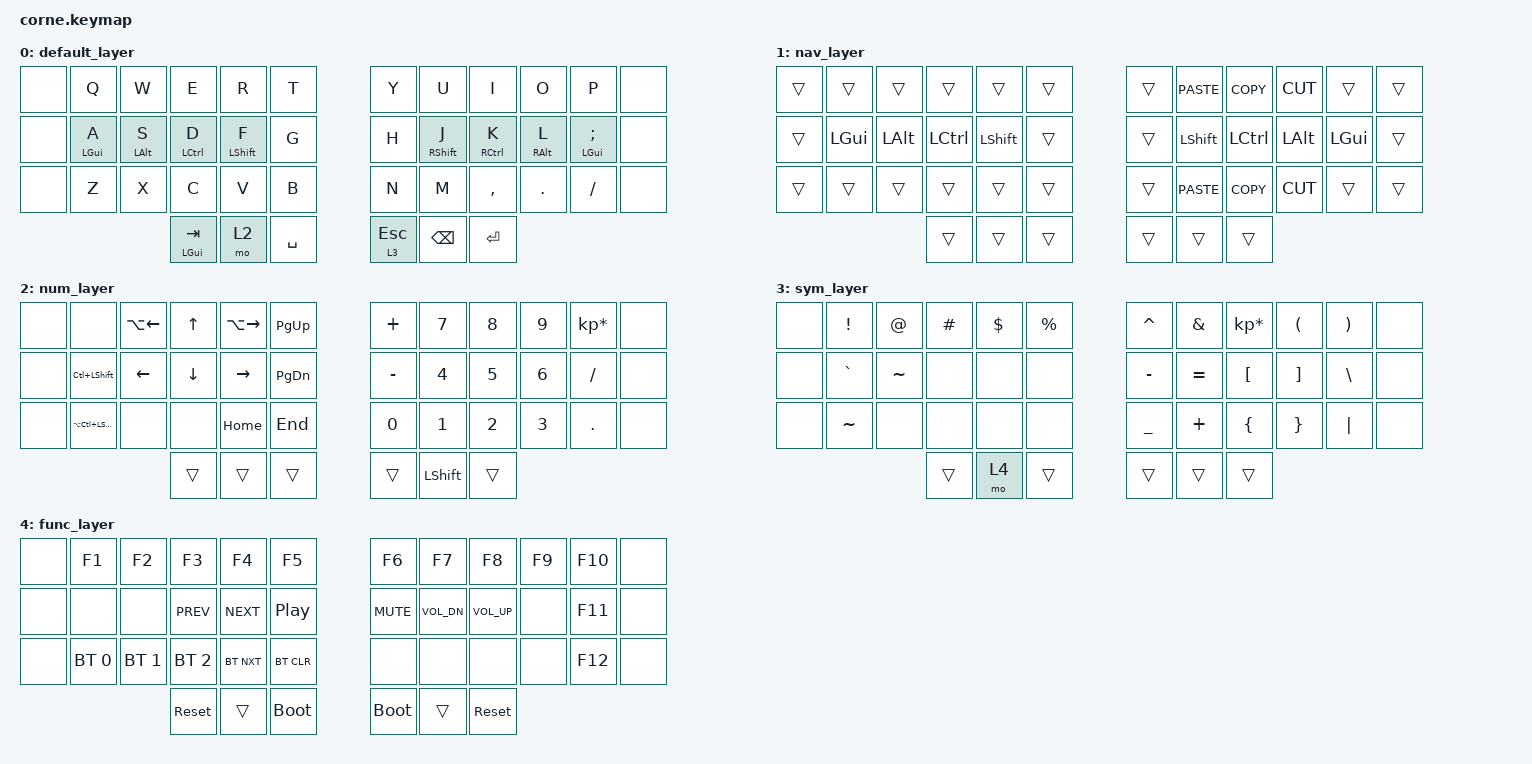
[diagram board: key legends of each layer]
/*
 * Copyright (c) 2020 The ZMK Contributors
 *
 * SPDX-License-Identifier: MIT
 */

#include <behaviors.dtsi>
#include <dt-bindings/zmk/bt.h>
#include <dt-bindings/zmk/keys.h>

// LAYERS

#define DEFAULT 0
#define NUM     1
#define SYM     2
#define FUNC    3

// MACROS

#define SUPER LC(LSHIFT)
#define SUPER2 LA(LC(LSHIFT))

&mt {
    tapping-term-ms = <200>;
    flavor = "tap-preferred";
};

/ {
    behaviors {
        hm: homerow_mods {
            compatible = "zmk,behavior-hold-tap";
            label = "HOMEROW_MODS";
            #binding-cells = <2>;
            tapping-term-ms = <200>;
            quick-tap-ms = <0>;
            flavor = "tap-preferred";
            bindings = <&kp>, <&kp>;
        };

        td0: tap_dance_0 {
            compatible = "zmk,behavior-tap-dance";
            label = "TAP_DANCE_0";
            #binding-cells = <0>;
            tapping-term-ms = <200>;
            bindings = <&kp SEMI>, <&kp SQT>;
        };
    };

    combos { compatible = "zmk,combos"; };

    keymap {
        compatible = "zmk,keymap";

        default_layer {
            bindings = <
&none  &kp Q       &kp W       &kp E             &kp R         &kp T        &kp Y         &kp U          &kp I        &kp O       &kp P          &none
&none  &hm LGUI A  &hm LALT S  &hm LCTRL D       &hm LSHIFT F  &kp G        &kp H         &hm RSHIFT J   &hm RCTRL K  &hm RALT L  &mt LGUI SEMI  &none
&none  &kp Z       &kp X       &kp C             &kp V         &kp B        &kp N         &kp M          &kp COMMA    &kp DOT     &kp FSLH       &none
                               &mt LEFT_GUI TAB  &mo 2         &kp SPACE    &lt 3 ESCAPE  &kp BACKSPACE  &kp RETURN
            >;
        };

        nav_layer {
            bindings = <
&trans  &trans    &trans    &trans     &trans     &trans    &trans  &kp K_PASTE  &kp K_COPY  &kp K_CUT  &trans    &trans
&trans  &kp LGUI  &kp LALT  &kp LCTRL  &kp LSHFT  &trans    &trans  &kp LSHFT    &kp LCTRL   &kp LALT   &kp LGUI  &trans
&trans  &trans    &trans    &trans     &trans     &trans    &trans  &kp K_PASTE  &kp K_COPY  &kp K_CUT  &trans    &trans
                            &trans     &trans     &trans    &trans  &trans       &trans
            >;
        };

        num_layer {
            bindings = <
&none  &none       &kp LA(LEFT)  &kp UP    &kp LA(RIGHT)  &kp PG_UP    &kp PLUS   &kp N7      &kp N8  &kp N9  &kp KP_MULTIPLY  &none
&none  &kp SUPER   &kp LEFT      &kp DOWN  &kp RIGHT      &kp PG_DN    &kp MINUS  &kp N4      &kp N5  &kp N6  &kp SLASH        &none
&none  &kp SUPER2  &none         &none     &kp HOME       &kp END      &kp N0     &kp N1      &kp N2  &kp N3  &kp DOT          &none
                                 &trans    &trans         &trans       &trans     &kp LSHIFT  &trans
            >;
        };

        sym_layer {
            bindings = <
&none  &kp EXCL   &kp AT     &kp HASH  &kp DLLR  &kp PRCNT    &kp CARET  &kp AMPS   &kp KP_MULTIPLY  &kp LPAR  &kp RPAR  &none
&none  &kp GRAVE  &kp TILDE  &none     &none     &none        &kp MINUS  &kp EQUAL  &kp LBKT         &kp RBKT  &kp BSLH  &none
&none  &kp TILDE  &none      &none     &none     &none        &kp UNDER  &kp PLUS   &kp LBRC         &kp RBRC  &kp PIPE  &none
                             &trans    &mo 4     &trans       &trans     &trans     &trans
            >;
        };

        func_layer {
            bindings = <
&none  &kp F1        &kp F2        &kp F3        &kp F4      &kp F5              &kp F6       &kp F7        &kp F8        &kp F9  &kp F10  &none
&none  &none         &none         &kp C_PREV    &kp C_NEXT  &kp C_PLAY_PAUSE    &kp C_MUTE   &kp C_VOL_DN  &kp C_VOL_UP  &none   &kp F11  &none
&none  &bt BT_SEL 0  &bt BT_SEL 1  &bt BT_SEL 2  &bt BT_NXT  &bt BT_CLR          &none        &none         &none         &none   &kp F12  &none
                                   &sys_reset    &trans      &bootloader         &bootloader  &trans        &sys_reset
            >;
        };
    };
};
